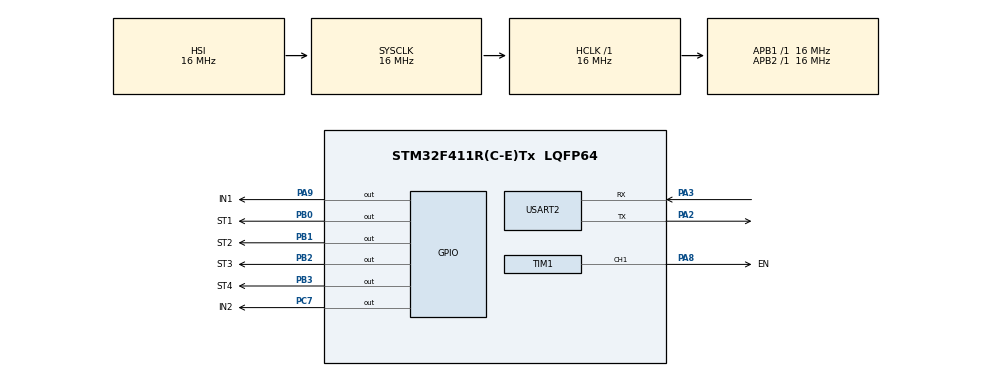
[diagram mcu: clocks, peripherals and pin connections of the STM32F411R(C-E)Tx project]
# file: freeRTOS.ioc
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FREERTOS.Tasks01=defaultTask,24,128,StartDefaultTask,Default,NULL,Dynamic,NULL,NULL;myTask02,8,128,StartTask02,Default,NULL,Dynamic,NULL,NULL;myTask03,8,128,StartTask03,Default,NULL,Dynamic,NULL,NULL
Mcu.Family=STM32F4
Mcu.Name=STM32F411R(C-E)Tx
Mcu.Package=LQFP64
NVIC.PriorityGroup=NVIC_PRIORITYGROUP_4
NVIC.USART2_IRQn=true\:5\:0\:false\:false\:true\:true\:true\:true\:true
PA2.Mode=Asynchronous
PA2.Signal=USART2_TX
PA3.Mode=Asynchronous
PA3.Signal=USART2_RX
PA8.GPIO_Label=EN
PA8.Signal=S_TIM1_CH1
PA9.GPIO_Label=IN1
PA9.Signal=GPIO_Output
PB0.GPIO_Label=ST1
PB0.Signal=GPIO_Output
PB1.GPIO_Label=ST2
PB1.Signal=GPIO_Output
PB2.GPIO_Label=ST3
PB2.Signal=GPIO_Output
PB3.GPIO_Label=ST4
PB3.Signal=GPIO_Output
PC7.GPIO_Label=IN2
PC7.Signal=GPIO_Output
ProjectManager.HeapSize=0x200
ProjectManager.StackSize=0x400
ProjectManager.TargetToolchain=STM32CubeIDE
RCC.AHBFreq_Value=16000000
RCC.APB1Freq_Value=16000000
RCC.APB2Freq_Value=16000000
RCC.CortexFreq_Value=16000000
RCC.HSE_VALUE=25000000
RCC.HSI_VALUE=16000000
RCC.LSE_VALUE=32768
RCC.SYSCLKFreq_VALUE=16000000
RCC.VCOOutputFreq_Value=192000000
SH.S_TIM1_CH1.0=TIM1_CH1,PWM Generation1 CH1
TIM1.Channel-PWM\ Generation1\ CH1=TIM_CHANNEL_1
TIM1.Period=1000-1
TIM1.Prescaler=16-1
USART2.VirtualMode=VM_ASYNC
VP_FREERTOS_VS_CMSIS_V2.Mode=CMSIS_V2
VP_TIM1_VS_ClockSourceINT.Mode=Internal
board=custom

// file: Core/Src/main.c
/* USER CODE BEGIN Header */
/**
 ******************************************************************************
 * @file           : main.c
 * @brief          : Main program body
 ******************************************************************************
 * @attention
 *
 * Copyright (c) 2024 STMicroelectronics.
 * All rights reserved.
 *
 * This software is licensed under terms that can be found in the LICENSE file
 * in the root directory of this software component.
 * If no LICENSE file comes with this software, it is provided AS-IS.
 *
 ******************************************************************************
 */
/* USER CODE END Header */
#include "main.h"
#include "cmsis_os.h"

/* USER CODE BEGIN Includes */
#include "uart.h"
/* USER CODE END Includes */

TIM_HandleTypeDef htim1;

UART_HandleTypeDef huart2;

/* Definitions for defaultTask */
osThreadId_t defaultTaskHandle;
const osThreadAttr_t defaultTask_attributes = {
  .name = "defaultTask",
  .stack_size = 128 * 4,
  .priority = (osPriority_t) osPriorityNormal,
};
/* Definitions for myTask02 */
osThreadId_t myTask02Handle;
const osThreadAttr_t myTask02_attributes = {
  .name = "myTask02",
  .stack_size = 128 * 4,
  .priority = (osPriority_t) osPriorityLow,
};
/* Definitions for myTask03 */
osThreadId_t myTask03Handle;
const osThreadAttr_t myTask03_attributes = {
  .name = "myTask03",
  .stack_size = 128 * 4,
  .priority = (osPriority_t) osPriorityLow,
};

void SystemClock_Config(void);
static void MX_GPIO_Init(void);
static void MX_USART2_UART_Init(void);
static void MX_TIM1_Init(void);
void StartDefaultTask(void *argument);
void StartTask02(void *argument);
void StartTask03(void *argument);

int main(void)
{

  /* MCU Configuration--------------------------------------------------------*/

  /* Reset of all peripherals, Initializes the Flash interface and the Systick. */
  HAL_Init();

  /* Configure the system clock */
  SystemClock_Config();

  /* Initialize all configured peripherals */
  MX_GPIO_Init();
  MX_USART2_UART_Init();
  MX_TIM1_Init();
  /* USER CODE BEGIN 2 */
	initUART(&huart2);
	// set timer1
	HAL_TIM_PWM_Start(&htim1, TIM_CHANNEL_1);
  /* USER CODE END 2 */

  /* Init scheduler */
  osKernelInitialize();

  /* Create the thread(s) */
  /* creation of defaultTask */
  defaultTaskHandle = osThreadNew(StartDefaultTask, NULL, &defaultTask_attributes);

  /* creation of myTask02 */
  myTask02Handle = osThreadNew(StartTask02, NULL, &myTask02_attributes);

  /* creation of myTask03 */
  myTask03Handle = osThreadNew(StartTask03, NULL, &myTask03_attributes);

  /* Start scheduler */
  osKernelStart();

  /* We should never get here as control is now taken by the scheduler */
  /* Infinite loop */
	while (1) {

	}
}

void SystemClock_Config(void)
{
  RCC_OscInitTypeDef RCC_OscInitStruct = {0};
  RCC_ClkInitTypeDef RCC_ClkInitStruct = {0};

  /** Configure the main internal regulator output voltage
  */
  __HAL_RCC_PWR_CLK_ENABLE();
  __HAL_PWR_VOLTAGESCALING_CONFIG(PWR_REGULATOR_VOLTAGE_SCALE1);

  /** Initializes the RCC Oscillators according to the specified parameters
  * in the RCC_OscInitTypeDef structure.
  */
  RCC_OscInitStruct.OscillatorType = RCC_OSCILLATORTYPE_HSI;
  RCC_OscInitStruct.HSIState = RCC_HSI_ON;
  RCC_OscInitStruct.HSICalibrationValue = RCC_HSICALIBRATION_DEFAULT;
  RCC_OscInitStruct.PLL.PLLState = RCC_PLL_NONE;
  if (HAL_RCC_OscConfig(&RCC_OscInitStruct) != HAL_OK)
  {
    Error_Handler();
  }

  /** Initializes the CPU, AHB and APB buses clocks
  */
  RCC_ClkInitStruct.ClockType = RCC_CLOCKTYPE_HCLK|RCC_CLOCKTYPE_SYSCLK
                              |RCC_CLOCKTYPE_PCLK1|RCC_CLOCKTYPE_PCLK2;
  RCC_ClkInitStruct.SYSCLKSource = RCC_SYSCLKSOURCE_HSI;
  RCC_ClkInitStruct.AHBCLKDivider = RCC_SYSCLK_DIV1;
  RCC_ClkInitStruct.APB1CLKDivider = RCC_HCLK_DIV1;
  RCC_ClkInitStruct.APB2CLKDivider = RCC_HCLK_DIV1;

  if (HAL_RCC_ClockConfig(&RCC_ClkInitStruct, FLASH_LATENCY_0) != HAL_OK)
  {
    Error_Handler();
  }
}

static void MX_TIM1_Init(void)
{

  TIM_ClockConfigTypeDef sClockSourceConfig = {0};
  TIM_MasterConfigTypeDef sMasterConfig = {0};
  TIM_OC_InitTypeDef sConfigOC = {0};
  TIM_BreakDeadTimeConfigTypeDef sBreakDeadTimeConfig = {0};

  htim1.Instance = TIM1;
  htim1.Init.Prescaler = 16-1;
  htim1.Init.CounterMode = TIM_COUNTERMODE_UP;
  htim1.Init.Period = 1000-1;
  htim1.Init.ClockDivision = TIM_CLOCKDIVISION_DIV1;
  htim1.Init.RepetitionCounter = 0;
  htim1.Init.AutoReloadPreload = TIM_AUTORELOAD_PRELOAD_DISABLE;
  if (HAL_TIM_Base_Init(&htim1) != HAL_OK)
  {
    Error_Handler();
  }
  sClockSourceConfig.ClockSource = TIM_CLOCKSOURCE_INTERNAL;
  if (HAL_TIM_ConfigClockSource(&htim1, &sClockSourceConfig) != HAL_OK)
  {
    Error_Handler();
  }
  if (HAL_TIM_PWM_Init(&htim1) != HAL_OK)
  {
    Error_Handler();
  }
  sMasterConfig.MasterOutputTrigger = TIM_TRGO_RESET;
  sMasterConfig.MasterSlaveMode = TIM_MASTERSLAVEMODE_DISABLE;
  if (HAL_TIMEx_MasterConfigSynchronization(&htim1, &sMasterConfig) != HAL_OK)
  {
    Error_Handler();
  }
  sConfigOC.OCMode = TIM_OCMODE_PWM1;
  sConfigOC.Pulse = 0;
  sConfigOC.OCPolarity = TIM_OCPOLARITY_HIGH;
  sConfigOC.OCNPolarity = TIM_OCNPOLARITY_HIGH;
  sConfigOC.OCFastMode = TIM_OCFAST_DISABLE;
  sConfigOC.OCIdleState = TIM_OCIDLESTATE_RESET;
  sConfigOC.OCNIdleState = TIM_OCNIDLESTATE_RESET;
  if (HAL_TIM_PWM_ConfigChannel(&htim1, &sConfigOC, TIM_CHANNEL_1) != HAL_OK)
  {
    Error_Handler();
  }
  sBreakDeadTimeConfig.OffStateRunMode = TIM_OSSR_DISABLE;
  sBreakDeadTimeConfig.OffStateIDLEMode = TIM_OSSI_DISABLE;
  sBreakDeadTimeConfig.LockLevel = TIM_LOCKLEVEL_OFF;
  sBreakDeadTimeConfig.DeadTime = 0;
  sBreakDeadTimeConfig.BreakState = TIM_BREAK_DISABLE;
  sBreakDeadTimeConfig.BreakPolarity = TIM_BREAKPOLARITY_HIGH;
  sBreakDeadTimeConfig.AutomaticOutput = TIM_AUTOMATICOUTPUT_DISABLE;
  if (HAL_TIMEx_ConfigBreakDeadTime(&htim1, &sBreakDeadTimeConfig) != HAL_OK)
  {
    Error_Handler();
  }
  HAL_TIM_MspPostInit(&htim1);

}

static void MX_USART2_UART_Init(void)
{

  huart2.Instance = USART2;
  huart2.Init.BaudRate = 115200;
  huart2.Init.WordLength = UART_WORDLENGTH_8B;
  huart2.Init.StopBits = UART_STOPBITS_1;
  huart2.Init.Parity = UART_PARITY_NONE;
  huart2.Init.Mode = UART_MODE_TX_RX;
  huart2.Init.HwFlowCtl = UART_HWCONTROL_NONE;
  huart2.Init.OverSampling = UART_OVERSAMPLING_16;
  if (HAL_UART_Init(&huart2) != HAL_OK)
  {
    Error_Handler();
  }

}

static void MX_GPIO_Init(void)
{
  GPIO_InitTypeDef GPIO_InitStruct = {0};

  /* GPIO Ports Clock Enable */
  __HAL_RCC_GPIOA_CLK_ENABLE();
  __HAL_RCC_GPIOB_CLK_ENABLE();
  __HAL_RCC_GPIOC_CLK_ENABLE();

  /*Configure GPIO pin Output Level */
  HAL_GPIO_WritePin(GPIOB, ST1_Pin|ST2_Pin|ST3_Pin|ST4_Pin, GPIO_PIN_RESET);

  /*Configure GPIO pin Output Level */
  HAL_GPIO_WritePin(IN2_GPIO_Port, IN2_Pin, GPIO_PIN_RESET);

  /*Configure GPIO pin Output Level */
  HAL_GPIO_WritePin(IN1_GPIO_Port, IN1_Pin, GPIO_PIN_RESET);

  /*Configure GPIO pins : ST1_Pin ST2_Pin ST3_Pin ST4_Pin */
  GPIO_InitStruct.Pin = ST1_Pin|ST2_Pin|ST3_Pin|ST4_Pin;
  GPIO_InitStruct.Mode = GPIO_MODE_OUTPUT_PP;
  GPIO_InitStruct.Pull = GPIO_NOPULL;
  GPIO_InitStruct.Speed = GPIO_SPEED_FREQ_LOW;
  HAL_GPIO_Init(GPIOB, &GPIO_InitStruct);

  /*Configure GPIO pin : IN2_Pin */
  GPIO_InitStruct.Pin = IN2_Pin;
  GPIO_InitStruct.Mode = GPIO_MODE_OUTPUT_PP;
  GPIO_InitStruct.Pull = GPIO_NOPULL;
  GPIO_InitStruct.Speed = GPIO_SPEED_FREQ_LOW;
  HAL_GPIO_Init(IN2_GPIO_Port, &GPIO_InitStruct);

  /*Configure GPIO pin : IN1_Pin */
  GPIO_InitStruct.Pin = IN1_Pin;
  GPIO_InitStruct.Mode = GPIO_MODE_OUTPUT_PP;
  GPIO_InitStruct.Pull = GPIO_NOPULL;
  GPIO_InitStruct.Speed = GPIO_SPEED_FREQ_LOW;
  HAL_GPIO_Init(IN1_GPIO_Port, &GPIO_InitStruct);

}

void StartDefaultTask(void *argument)
{
  /* USER CODE BEGIN 5 */
	/* Infinite loop */
	for (;;) {
		HAL_GPIO_WritePin(IN1_GPIO_Port, IN1_Pin, 1);
		HAL_GPIO_WritePin(IN2_GPIO_Port, IN2_Pin, 0);
		for (int i = 0; i < 1000; i++) { // acceleration - 1s
			htim1.Instance->CCR1 = i;
			osDelay(1);
		}

		osDelay(1000); // max v - 1s

		for (int i = 0; i < 1000; i++) { // deceleration - 1s
			htim1.Instance->CCR1 = 999 - i;
			osDelay(1);
		}

		//reverse
		HAL_GPIO_WritePin(IN1_GPIO_Port, IN1_Pin, 0);
		HAL_GPIO_WritePin(IN2_GPIO_Port, IN2_Pin, 1);
		for (int i = 0; i < 1000; i++) { // acceleration - 1s
			htim1.Instance->CCR1 = i;
			osDelay(1);
		}

		osDelay(1000); // max v - 1s

		for (int i = 0; i < 1000; i++) { // deceleration - 1s
			htim1.Instance->CCR1 = 999 - i;
			osDelay(1);
		}
	}
  /* USER CODE END 5 */
}

void StartTask02(void *argument)
{
  /* USER CODE BEGIN StartTask02 */
	/* Infinite loop */
	uint8_t step[] = {
			//0bBBAA
			0b0101,
			0b0110, // A change
			0b1010, // B change
			0b1001 }; // A change

	for (;;) {
		ST1_GPIO_Port->ODR = step[0];
		osDelay(5);
		ST1_GPIO_Port->ODR = step[1];
		osDelay(5);
		ST1_GPIO_Port->ODR = step[2];
		osDelay(5);
		ST1_GPIO_Port->ODR = step[3];
		osDelay(5);
	}
  /* USER CODE END StartTask02 */
}

void StartTask03(void *argument)
{
  /* USER CODE BEGIN StartTask03 */
	/* Infinite loop */
	for (;;) {
		static int count = 0;
		printf("task3 count = %d\n", count++);
		osDelay(1000);
	}
  /* USER CODE END StartTask03 */
}

void Error_Handler(void)
{
	__disable_irq();
	while (1) {
	}
}
